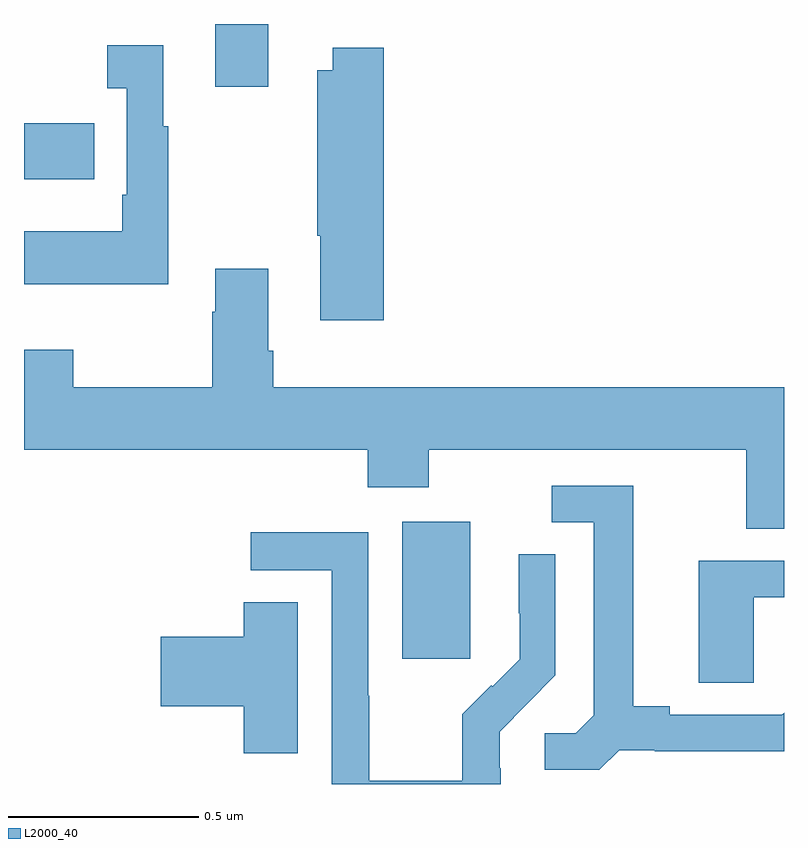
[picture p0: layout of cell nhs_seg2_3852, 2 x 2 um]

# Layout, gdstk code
import gdstk
lib = gdstk.Library(unit=1e-6, precision=1e-09)
def R(c, l, rs):  # rectangles x0, y0, x1, y1
    for r in rs: c.add(gdstk.rectangle(r[:2], r[2:], *l))
def P(c, l, *ps):  # polygons
    for p in ps: c.add(gdstk.Polygon(p, *l))
L2000_40 = (2000, 40)

nhs_seg2_3852 = lib.new_cell('nhs_seg2_3852')
R(nhs_seg2_3852, L2000_40, [(159.995,603.129,160.174,603.49), (159,604.391,159.185,604.539), (159.503,604.635,159.643,604.8)])
P(nhs_seg2_3852, L2000_40, [(159.379,604.531),(159.367,604.531),(159.367,604.744),(159.219,604.744),(159.219,604.631),(159.27,604.631),(159.27,604.351),(159.258,604.351),(159.258,604.255),(159.001,604.255),(159.001,604.115),(159.379,604.115)],
  [(159.947,604.738),(159.812,604.738),(159.812,604.678),(159.772,604.678),(159.772,604.243),(159.779,604.243),(159.779,604.02),(159.947,604.02)],
  [(161,603.844),(159.656,603.844),(159.656,603.94),(159.643,603.94),(159.643,604.156),(159.503,604.156),(159.503,604.043),(159.496,604.043),(159.496,603.844),(159.129,603.844),(159.129,603.943),(159,603.943),(159,603.68),(159.905,603.68),(159.905,603.581),(160.065,603.581),(160.065,603.68),(160.901,603.68),(160.901,603.472),(161,603.472)],
  [(160.566,602.889),(160.66,602.889),(160.66,602.886),(161,602.886),(161,602.988),(160.994,602.982),(160.699,602.982),(160.699,603.005),(160.603,603.005),(160.603,603.585),(160.389,603.585),(160.389,603.489),(160.499,603.489),(160.499,602.981),(160.452,602.934),(160.371,602.934),(160.371,602.837),(160.514,602.837)],
  [(160.254,602.841),(160.252,602.841),(160.252,602.938),(160.326,603.012),(160.325,603.013),(160.398,603.086),(160.398,603.404),(160.302,603.404),(160.302,603.25),(160.304,603.25),(160.304,603.128),(160.233,603.057),(160.23,603.06),(160.153,602.983),(160.153,602.809),(159.909,602.809),(159.909,603.032),(159.906,603.032),(159.906,603.462),(159.597,603.462),(159.597,603.363),(159.81,603.363),(159.81,602.8),(160.254,602.8)],
  [(160.92,603.291),(161,603.291),(161,603.387),(160.775,603.387),(160.775,603.067),(160.92,603.067)],
  [(159.721,603.278),(159.578,603.278),(159.578,603.188),(159.36,603.188),(159.36,603.005),(159.578,603.005),(159.578,602.881),(159.721,602.881)])

lib.write_gds('nhs_seg2_3852.gds')
